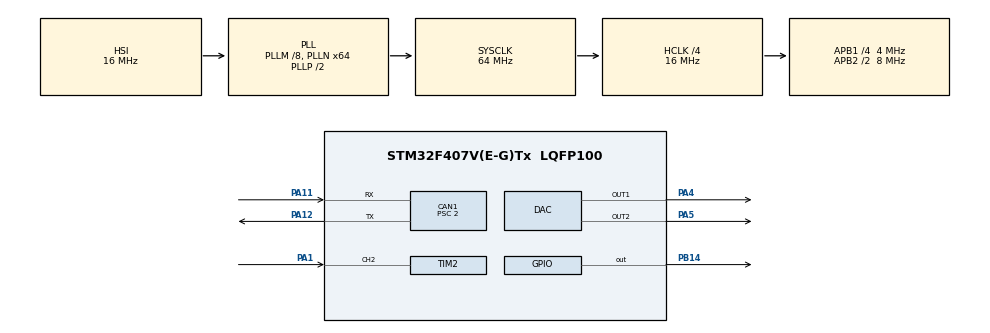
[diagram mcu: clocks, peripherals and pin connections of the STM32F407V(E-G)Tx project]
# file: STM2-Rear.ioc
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CAN1.BS1=CAN_BS1_5TQ
CAN1.BS2=CAN_BS2_2TQ
CAN1.CalculateTimeQuantum=500.0
CAN1.Prescaler=2
Mcu.Family=STM32F4
Mcu.Name=STM32F407V(E-G)Tx
Mcu.Package=LQFP100
NVIC.CAN1_RX0_IRQn=true\:1\:0\:true\:false\:true\:true\:true
NVIC.PriorityGroup=NVIC_PRIORITYGROUP_4
NVIC.TIM3_IRQn=true\:0\:0\:false\:false\:true\:true\:true
NVIC.TIM4_IRQn=true\:2\:0\:true\:false\:true\:true\:true
NVIC.TIM5_IRQn=true\:2\:0\:true\:false\:true\:true\:true
PA1.GPIO_Speed=GPIO_SPEED_FREQ_HIGH
PA1.Signal=S_TIM2_CH2
PA11.Mode=Master
PA11.Signal=CAN1_RX
PA12.Mode=Master
PA12.Signal=CAN1_TX
PA13.Mode=Serial_Wire
PA13.Signal=SYS_JTMS-SWDIO
PA14.Mode=Serial_Wire
PA14.Signal=SYS_JTCK-SWCLK
PA4.Signal=COMP_DAC1_group
PA5.Signal=COMP_DAC2_group
PB14.Signal=GPIO_Output
PH0-OSC_IN.Mode=HSE-External-Oscillator
PH0-OSC_IN.Signal=RCC_OSC_IN
PH1-OSC_OUT.Mode=HSE-External-Oscillator
PH1-OSC_OUT.Signal=RCC_OSC_OUT
ProjectManager.HeapSize=0x200
ProjectManager.StackSize=0x400
ProjectManager.TargetToolchain=MDK-ARM V5
RCC.48MHZClocksFreq_Value=32000000
RCC.AHBCLKDivider=RCC_SYSCLK_DIV4
RCC.AHBFreq_Value=16000000
RCC.APB1CLKDivider=RCC_HCLK_DIV4
RCC.APB1Freq_Value=4000000
RCC.APB1TimFreq_Value=8000000
RCC.APB2CLKDivider=RCC_HCLK_DIV2
RCC.APB2Freq_Value=8000000
RCC.APB2TimFreq_Value=16000000
RCC.CortexFreq_Value=16000000
RCC.HCLKFreq_Value=16000000
RCC.HSE_VALUE=25000000
RCC.HSI_VALUE=16000000
RCC.LSE_VALUE=32768
RCC.PLLM=8
RCC.PLLN=64
RCC.SYSCLKFreq_VALUE=64000000
RCC.SYSCLKSource=RCC_SYSCLKSOURCE_PLLCLK
RCC.VCOOutputFreq_Value=128000000
SH.COMP_DAC1_group.0=DAC_OUT1,DAC_OUT1
SH.COMP_DAC2_group.0=DAC_OUT2,DAC_OUT2
SH.S_TIM2_CH2.0=TIM2_CH2,TriggerSource_TI2FP2
TIM2.Period=4000
TIM2.Prescaler=1000
TIM2.Slave_TriggerFilter=15
TIM2.Slave_TriggerPolarity=TIM_TRIGGERPOLARITY_FALLING
TIM3.Period=500
TIM3.Prescaler=5333
TIM4.Period=550
TIM4.Prescaler=6300
VP_TIM2_VS_ControllerModeClock.Mode=Clock Mode
VP_TIM3_VS_ClockSourceINT.Mode=Internal
VP_TIM4_VS_ClockSourceINT.Mode=Internal
VP_TIM5_VS_ClockSourceINT.Mode=Internal
board=custom

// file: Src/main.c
/* USER CODE BEGIN Header */
/**
  ******************************************************************************
  * @file           : main.c
  * @brief          : Main program body
  ******************************************************************************
  ** This notice applies to any and all portions of this file
  * that are not between comment pairs USER CODE BEGIN and
  * USER CODE END. Other portions of this file, whether
  * inserted by the user or by software development tools
  * are owned by their respective copyright owners.
  *
  * COPYRIGHT(c) 2019 STMicroelectronics
  *
  * Redistribution and use in source and binary forms, with or without modification,
  * are permitted provided that the following conditions are met:
  *   1. Redistributions of source code must retain the above copyright notice,
  *      this list of conditions and the following disclaimer.
  *   2. Redistributions in binary form must reproduce the above copyright notice,
  *      this list of conditions and the following disclaimer in the documentation
  *      and/or other materials provided with the distribution.
  *   3. Neither the name of STMicroelectronics nor the names of its contributors
  *      may be used to endorse or promote products derived from this software
  *      without specific prior written permission.
  *
  * THIS SOFTWARE IS PROVIDED BY THE COPYRIGHT HOLDERS AND CONTRIBUTORS "AS IS"
  * AND ANY EXPRESS OR IMPLIED WARRANTIES, INCLUDING, BUT NOT LIMITED TO, THE
  * IMPLIED WARRANTIES OF MERCHANTABILITY AND FITNESS FOR A PARTICULAR PURPOSE ARE
  * DISCLAIMED. IN NO EVENT SHALL THE COPYRIGHT HOLDER OR CONTRIBUTORS BE LIABLE
  * FOR ANY DIRECT, INDIRECT, INCIDENTAL, SPECIAL, EXEMPLARY, OR CONSEQUENTIAL
  * DAMAGES (INCLUDING, BUT NOT LIMITED TO, PROCUREMENT OF SUBSTITUTE GOODS OR
  * SERVICES; LOSS OF USE, DATA, OR PROFITS; OR BUSINESS INTERRUPTION) HOWEVER
  * CAUSED AND ON ANY THEORY OF LIABILITY, WHETHER IN CONTRACT, STRICT LIABILITY,
  * OR TORT (INCLUDING NEGLIGENCE OR OTHERWISE) ARISING IN ANY WAY OUT OF THE USE
  * OF THIS SOFTWARE, EVEN IF ADVISED OF THE POSSIBILITY OF SUCH DAMAGE.
  *
  ******************************************************************************
  */
/* USER CODE END Header */

#include "main.h"

/* USER CODE BEGIN Includes */
#include "stdbool.h"

/* USER CODE END Includes */

CAN_HandleTypeDef hcan1;

DAC_HandleTypeDef hdac;

TIM_HandleTypeDef htim2;
TIM_HandleTypeDef htim3;
TIM_HandleTypeDef htim4;
TIM_HandleTypeDef htim5;

/* USER CODE BEGIN PV */

//-----CAN variables-----//
CAN_HandleTypeDef hcan1;
CAN_TxHeaderTypeDef Message_Header; //declare a specific header for message transmittions
CAN_RxHeaderTypeDef Filter_Header; //declare header for message reception
uint32_t TxMailbox;//mailbox for pending transmitions
//uint8_t message_out;
uint8_t message_in; //declare a send and receive bytes

//Declare CAN filter structures
CAN_FilterTypeDef sFilterConfig1; //general header
CAN_FilterTypeDef sFilterConfig2; //header lights messages (from STM4)
CAN_FilterTypeDef sFilterConfig3; //throttle position (from STM1)
CAN_FilterTypeDef sFilterConfig4; //regen position (from STM1)
CAN_FilterTypeDef sFilterConfig5; //error messages

bool kill_switch=0;

//---FLAG DEFINIIONS---///
//these control whether has indicated something should turn on or off
volatile bool lts_on_flag;
volatile bool lts_off_flag;
volatile bool rts_on_flag;
volatile bool rts_off_flag;
volatile bool haz_on_flag;
volatile bool haz_off_flag;

//these indicate whether something is currently activated
volatile bool rts_state;
volatile bool lts_state;
volatile bool haz_state=0;

//these are for the specific state of the physical light itself
volatile bool lts_light_state;
volatile bool rts_light_state;
volatile bool haz_light_state;

volatile int state;
volatile bool fault_flag;

/* USER CODE END PV */

void SystemClock_Config(void);
static void MX_GPIO_Init(void);
static void MX_TIM3_Init(void);
static void MX_TIM4_Init(void);
static void MX_TIM5_Init(void);
static void MX_DAC_Init(void);
static void MX_TIM2_Init(void);
static void MX_CAN1_Init(void);
/* USER CODE BEGIN PFP */
static void User_GPIO_Init(void);
void msDelay(uint32_t msTime);
int Debounced_ReadPin(GPIO_TypeDef* GPIOx, uint16_t GPIO_Pin);
void CAN_Send(uint8_t message, uint16_t address);

/* USER CODE END PFP */

int main(void)
{

  /* MCU Configuration--------------------------------------------------------*/

  /* Reset of all peripherals, Initializes the Flash interface and the Systick. */
  HAL_Init();

  /* Configure the system clock */
  SystemClock_Config();

  /* Initialize all configured peripherals */
  MX_GPIO_Init();
  MX_TIM3_Init();
  MX_TIM4_Init();
  MX_TIM5_Init();
  MX_DAC_Init();
  MX_TIM2_Init();
  MX_CAN1_Init();
  /* USER CODE BEGIN 2 */

	//Setup GPIO
	User_GPIO_Init();
	//Added delay to allow motor controller to start up
	msDelay(5000);
	//start DACs
	HAL_DAC_Start(&hdac, DAC1_CHANNEL_1);
	HAL_DAC_Start(&hdac, DAC1_CHANNEL_2);

  //-----CAN SETUP-----//
  Message_Header.DLC=1; //give message size of 1 byte
  Message_Header.IDE=CAN_ID_STD; //set identifier to standard
  Message_Header.RTR=CAN_RTR_DATA; //set data type to remote transmission request?

	//---General Purpose Filter---//
  sFilterConfig1.FilterFIFOAssignment=CAN_FILTER_FIFO0; //set fifo assignment
	sFilterConfig1.FilterMode = CAN_FILTERMODE_IDLIST;  //list mode
	sFilterConfig1.FilterBank = 1;											//set filter bank
  sFilterConfig1.FilterIdHigh=0x200<<5; //the ID that the filter looks for (THIS IS YOUR ADDRESS)
  sFilterConfig1.FilterIdLow=0;
  sFilterConfig1.FilterScale=CAN_FILTERSCALE_32BIT; //set filter scale
  sFilterConfig1.FilterActivation=ENABLE;
	HAL_CAN_ConfigFilter(&hcan1, &sFilterConfig1); //configure CAN filter

	//---Blinker Control Filter---//
  sFilterConfig2.FilterFIFOAssignment=CAN_FILTER_FIFO0; //set fifo assignment
	sFilterConfig2.FilterMode = CAN_FILTERMODE_IDMASK;  //mask mode
	sFilterConfig2.FilterBank = 2;											//set filter bank
  sFilterConfig2.FilterIdHigh=0x240<<5; //the ID that the filter looks for (THIS IS YOUR ADDRESS)
  sFilterConfig2.FilterIdLow=0;
  sFilterConfig2.FilterMaskIdHigh=0x0FF<<5;
  sFilterConfig2.FilterMaskIdLow=0x0FF<<5;
  sFilterConfig2.FilterScale=CAN_FILTERSCALE_32BIT; //set filter scale
  sFilterConfig2.FilterActivation=ENABLE;
  HAL_CAN_ConfigFilter(&hcan1, &sFilterConfig2); //configure CAN filter

  //---Throttle Position Filter---//
  sFilterConfig3.FilterFIFOAssignment=CAN_FILTER_FIFO0; //set fifo assignment
	sFilterConfig3.FilterMode = CAN_FILTERMODE_IDLIST;  //list mode
	sFilterConfig3.FilterBank = 3;											//set filter bank
  sFilterConfig3.FilterIdHigh=0x210<<5; //the ID that the filter looks for (THIS IS YOUR ADDRESS)
  sFilterConfig3.FilterIdLow=0;
  sFilterConfig3.FilterScale=CAN_FILTERSCALE_32BIT; //set filter scale
  sFilterConfig3.FilterActivation=ENABLE;
  HAL_CAN_ConfigFilter(&hcan1, &sFilterConfig3); //configure CAN filter

  //---Regen Position Filter---//
  sFilterConfig4.FilterFIFOAssignment=CAN_FILTER_FIFO0; //set fifo assignment
	sFilterConfig4.FilterMode = CAN_FILTERMODE_IDLIST;  //list mode
	sFilterConfig4.FilterBank = 4;											//set filter bank
  sFilterConfig4.FilterIdHigh=0x220<<5; //the ID that the filter looks for (THIS IS YOUR ADDRESS)
  sFilterConfig4.FilterIdLow=0;
  sFilterConfig4.FilterScale=CAN_FILTERSCALE_32BIT; //set filter scale
  sFilterConfig4.FilterActivation=ENABLE;
  HAL_CAN_ConfigFilter(&hcan1, &sFilterConfig4); //configure CAN filter

	//---Error Messages Filter---//
  sFilterConfig5.FilterFIFOAssignment=CAN_FILTER_FIFO0; //set fifo assignment
	sFilterConfig5.FilterMode = CAN_FILTERMODE_IDMASK;  //mask mode
	sFilterConfig5.FilterBank = 5;											//set filter bank
  sFilterConfig5.FilterIdHigh=0x2EE<<5; //the ID that the filter looks for (THIS IS YOUR ADDRESS)
  sFilterConfig5.FilterIdLow=0;
  sFilterConfig5.FilterMaskIdHigh=0x7FF<<5;
  sFilterConfig5.FilterMaskIdLow=0x7FF<<5;
  sFilterConfig5.FilterScale=CAN_FILTERSCALE_32BIT; //set filter scale
  sFilterConfig5.FilterActivation=ENABLE;
  HAL_CAN_ConfigFilter(&hcan1, &sFilterConfig5); //configure CAN filter

  HAL_CAN_Start(&hcan1); //start CAN
  HAL_CAN_ActivateNotification(&hcan1, CAN_IT_RX_FIFO0_MSG_PENDING); //enable interrupts

	//TODO: DELETE THIS!!!
	HAL_DAC_SetValue(&hdac, DAC1_CHANNEL_1, DAC_ALIGN_8B_R, 0x00);
	HAL_DAC_SetValue(&hdac, DAC1_CHANNEL_2, DAC_ALIGN_8B_R, 0x00);

	//start speed collection timers
	HAL_TIM_Base_Start_IT(&htim5);
	HAL_TIM_Base_Start(&htim2);

	//start blinker control timers
	HAL_TIM_Base_Start_IT(&htim4);

//turn on motor on: DELETE THIS
	GPIOD->BSRR = 0x00000100;

  /* USER CODE END 2 */

  /* Infinite loop */
  /* USER CODE BEGIN WHILE */
  while (1)
  {
	switch(state){
		//matt=matt
		//-----NORMAL OPERATION STATES-----//
		case 0:
			//check to see if the killswitch is high
			kill_switch = Debounced_ReadPin(GPIOE, GPIO_PIN_0);
			//if killswitch is high tell STM3 to turn off the car
			if(kill_switch==1){
				  //broadcast error message
					CAN_Send(0xE1, 0x0EE);
					//stop DACs
					HAL_DAC_Stop(&hdac, DAC1_CHANNEL_1);
					HAL_DAC_Stop(&hdac, DAC1_CHANNEL_2);
					//trip fault flag
					fault_flag=1;
					}
			state++;
			break;

    //check right turn signals
		case 1:
			if(rts_on_flag==1){

				//ensure other turn signal is off
				GPIOC->BSRR=0x03000000;
				lts_state=0;
				lts_light_state=0;

				//set state to 1
				rts_state=1;
				//timer will interrupt immediately so set this to turn on turn signal
				rts_light_state=0;
				//reload prescaler by forcing update event
				TIM4->EGR |=TIM_EGR_UG;

				rts_on_flag=0;

			  }
			if(rts_off_flag==1 && lts_state==0){

				//set state to 0
				rts_state=0;
				//force update event

				//ensure lights are off
				GPIOC->BSRR=0x02000000;
			  //stop turn signals
				rts_off_flag=0;
			  }
			state++;
			break;

		//check left turn signals
		case 2:
			if(lts_on_flag==1){

				//ensure other turn signal is off
				GPIOC->BSRR=0x03000000;
				rts_state=0;
				rts_light_state=0;

				//set state to 1
				lts_state=1;
				//timer will interrupt immediately so set this to turn on turn signal
				lts_light_state=0;
				//reset the turn signal timer
				TIM4->EGR |=TIM_EGR_UG;	//reload prescaler by forcing update event

				lts_on_flag=0;
			  }

			if(lts_off_flag==1 && rts_state==0){

				//ensure other turn signal is off
				GPIOC->BSRR=0x03000000;

				//set state to 0
				lts_state=0;
				//ensure lights are off
				GPIOC->BSRR=0x01000000;
			  //stop turn signals
				lts_off_flag=0;
			  }
			state++;
			break;

		//check the hazards
		case 3:
			if(haz_on_flag==1){

				//set state to 1
				haz_state=1;
				//timer will interrupt immediately so set these to turn on turn signals
				haz_light_state=0;
				//reset the turn signal timer
				TIM4->EGR |=TIM_EGR_UG;

				haz_on_flag=0;
			  }
			if(haz_off_flag==1){

				//set states to 0
				haz_state=0;
				//ensure lights are off
				GPIOC->BSRR=0x03000000;
			  //stop turn signals
				haz_off_flag=0;
			  }

			state=0;
			//enter fault states if needed
			if(fault_flag == 1)
				state=4;

			break;

		}
    /* USER CODE END WHILE */

  }
}

void SystemClock_Config(void)
{
  RCC_OscInitTypeDef RCC_OscInitStruct = {0};
  RCC_ClkInitTypeDef RCC_ClkInitStruct = {0};

  /**Configure the main internal regulator output voltage
  */
  __HAL_RCC_PWR_CLK_ENABLE();
  __HAL_PWR_VOLTAGESCALING_CONFIG(PWR_REGULATOR_VOLTAGE_SCALE1);
  /**Initializes the CPU, AHB and APB busses clocks
  */
  RCC_OscInitStruct.OscillatorType = RCC_OSCILLATORTYPE_HSI;
  RCC_OscInitStruct.HSIState = RCC_HSI_ON;
  RCC_OscInitStruct.HSICalibrationValue = RCC_HSICALIBRATION_DEFAULT;
  RCC_OscInitStruct.PLL.PLLState = RCC_PLL_ON;
  RCC_OscInitStruct.PLL.PLLSource = RCC_PLLSOURCE_HSI;
  RCC_OscInitStruct.PLL.PLLM = 8;
  RCC_OscInitStruct.PLL.PLLN = 64;
  RCC_OscInitStruct.PLL.PLLP = RCC_PLLP_DIV2;
  RCC_OscInitStruct.PLL.PLLQ = 4;
  if (HAL_RCC_OscConfig(&RCC_OscInitStruct) != HAL_OK)
  {
    Error_Handler();
  }
  /**Initializes the CPU, AHB and APB busses clocks
  */
  RCC_ClkInitStruct.ClockType = RCC_CLOCKTYPE_HCLK|RCC_CLOCKTYPE_SYSCLK
                              |RCC_CLOCKTYPE_PCLK1|RCC_CLOCKTYPE_PCLK2;
  RCC_ClkInitStruct.SYSCLKSource = RCC_SYSCLKSOURCE_PLLCLK;
  RCC_ClkInitStruct.AHBCLKDivider = RCC_SYSCLK_DIV4;
  RCC_ClkInitStruct.APB1CLKDivider = RCC_HCLK_DIV4;
  RCC_ClkInitStruct.APB2CLKDivider = RCC_HCLK_DIV2;

  if (HAL_RCC_ClockConfig(&RCC_ClkInitStruct, FLASH_LATENCY_0) != HAL_OK)
  {
    Error_Handler();
  }
}

static void MX_CAN1_Init(void)
{

  hcan1.Instance = CAN1;
  hcan1.Init.Prescaler = 2;
  hcan1.Init.Mode = CAN_MODE_NORMAL;
  hcan1.Init.SyncJumpWidth = CAN_SJW_1TQ;
  hcan1.Init.TimeSeg1 = CAN_BS1_5TQ;
  hcan1.Init.TimeSeg2 = CAN_BS2_2TQ;
  hcan1.Init.TimeTriggeredMode = DISABLE;
  hcan1.Init.AutoBusOff = DISABLE;
  hcan1.Init.AutoWakeUp = DISABLE;
  hcan1.Init.AutoRetransmission = DISABLE;
  hcan1.Init.ReceiveFifoLocked = DISABLE;
  hcan1.Init.TransmitFifoPriority = DISABLE;
  if (HAL_CAN_Init(&hcan1) != HAL_OK)
  {
    Error_Handler();
  }

}

static void MX_DAC_Init(void)
{

  DAC_ChannelConfTypeDef sConfig = {0};

  /**DAC Initialization
  */
  hdac.Instance = DAC;
  if (HAL_DAC_Init(&hdac) != HAL_OK)
  {
    Error_Handler();
  }
  /**DAC channel OUT1 config
  */
  sConfig.DAC_Trigger = DAC_TRIGGER_NONE;
  sConfig.DAC_OutputBuffer = DAC_OUTPUTBUFFER_ENABLE;
  if (HAL_DAC_ConfigChannel(&hdac, &sConfig, DAC_CHANNEL_1) != HAL_OK)
  {
    Error_Handler();
  }
  /**DAC channel OUT2 config
  */
  if (HAL_DAC_ConfigChannel(&hdac, &sConfig, DAC_CHANNEL_2) != HAL_OK)
  {
    Error_Handler();
  }

}

static void MX_TIM2_Init(void)
{

  TIM_SlaveConfigTypeDef sSlaveConfig = {0};
  TIM_MasterConfigTypeDef sMasterConfig = {0};

  htim2.Instance = TIM2;
  htim2.Init.Prescaler = 1000;
  htim2.Init.CounterMode = TIM_COUNTERMODE_UP;
  htim2.Init.Period = 4000;
  htim2.Init.ClockDivision = TIM_CLOCKDIVISION_DIV1;
  if (HAL_TIM_Base_Init(&htim2) != HAL_OK)
  {
    Error_Handler();
  }
  sSlaveConfig.SlaveMode = TIM_SLAVEMODE_EXTERNAL1;
  sSlaveConfig.InputTrigger = TIM_TS_TI2FP2;
  sSlaveConfig.TriggerPolarity = TIM_TRIGGERPOLARITY_FALLING;
  sSlaveConfig.TriggerFilter = 15;
  if (HAL_TIM_SlaveConfigSynchronization(&htim2, &sSlaveConfig) != HAL_OK)
  {
    Error_Handler();
  }
  sMasterConfig.MasterOutputTrigger = TIM_TRGO_RESET;
  sMasterConfig.MasterSlaveMode = TIM_MASTERSLAVEMODE_DISABLE;
  if (HAL_TIMEx_MasterConfigSynchronization(&htim2, &sMasterConfig) != HAL_OK)
  {
    Error_Handler();
  }

}

static void MX_TIM3_Init(void)
{

  TIM_ClockConfigTypeDef sClockSourceConfig = {0};
  TIM_MasterConfigTypeDef sMasterConfig = {0};

  htim3.Instance = TIM3;
  htim3.Init.Prescaler = 0;
  htim3.Init.CounterMode = TIM_COUNTERMODE_UP;
  htim3.Init.Period = 0;
  htim3.Init.ClockDivision = TIM_CLOCKDIVISION_DIV1;
  if (HAL_TIM_Base_Init(&htim3) != HAL_OK)
  {
    Error_Handler();
  }
  sClockSourceConfig.ClockSource = TIM_CLOCKSOURCE_INTERNAL;
  if (HAL_TIM_ConfigClockSource(&htim3, &sClockSourceConfig) != HAL_OK)
  {
    Error_Handler();
  }
  sMasterConfig.MasterOutputTrigger = TIM_TRGO_RESET;
  sMasterConfig.MasterSlaveMode = TIM_MASTERSLAVEMODE_DISABLE;
  if (HAL_TIMEx_MasterConfigSynchronization(&htim3, &sMasterConfig) != HAL_OK)
  {
    Error_Handler();
  }

}

static void MX_TIM4_Init(void)
{

  TIM_ClockConfigTypeDef sClockSourceConfig = {0};
  TIM_MasterConfigTypeDef sMasterConfig = {0};

  htim4.Instance = TIM4;
  htim4.Init.Prescaler = 6300;
  htim4.Init.CounterMode = TIM_COUNTERMODE_UP;
  htim4.Init.Period = 550;
  htim4.Init.ClockDivision = TIM_CLOCKDIVISION_DIV1;
  if (HAL_TIM_Base_Init(&htim4) != HAL_OK)
  {
    Error_Handler();
  }
  sClockSourceConfig.ClockSource = TIM_CLOCKSOURCE_INTERNAL;
  if (HAL_TIM_ConfigClockSource(&htim4, &sClockSourceConfig) != HAL_OK)
  {
    Error_Handler();
  }
  sMasterConfig.MasterOutputTrigger = TIM_TRGO_RESET;
  sMasterConfig.MasterSlaveMode = TIM_MASTERSLAVEMODE_DISABLE;
  if (HAL_TIMEx_MasterConfigSynchronization(&htim4, &sMasterConfig) != HAL_OK)
  {
    Error_Handler();
  }

}

static void MX_TIM5_Init(void)
{

  TIM_ClockConfigTypeDef sClockSourceConfig = {0};
  TIM_MasterConfigTypeDef sMasterConfig = {0};

  htim5.Instance = TIM5;
  htim5.Init.Prescaler = 0;
  htim5.Init.CounterMode = TIM_COUNTERMODE_UP;
  htim5.Init.Period = 0;
  htim5.Init.ClockDivision = TIM_CLOCKDIVISION_DIV1;
  if (HAL_TIM_Base_Init(&htim5) != HAL_OK)
  {
    Error_Handler();
  }
  sClockSourceConfig.ClockSource = TIM_CLOCKSOURCE_INTERNAL;
  if (HAL_TIM_ConfigClockSource(&htim5, &sClockSourceConfig) != HAL_OK)
  {
    Error_Handler();
  }
  sMasterConfig.MasterOutputTrigger = TIM_TRGO_RESET;
  sMasterConfig.MasterSlaveMode = TIM_MASTERSLAVEMODE_DISABLE;
  if (HAL_TIMEx_MasterConfigSynchronization(&htim5, &sMasterConfig) != HAL_OK)
  {
    Error_Handler();
  }

}

static void MX_GPIO_Init(void)
{

  /* GPIO Ports Clock Enable */
  __HAL_RCC_GPIOH_CLK_ENABLE();
  __HAL_RCC_GPIOA_CLK_ENABLE();

}

/* USER CODE BEGIN 4 */

static void User_GPIO_Init(void){
  //enable clocks
	__HAL_RCC_GPIOD_CLK_ENABLE();
	__HAL_RCC_GPIOE_CLK_ENABLE();
	__HAL_RCC_GPIOB_CLK_ENABLE();
  __HAL_RCC_GPIOC_CLK_ENABLE();

	//enable PD12-PD15 debugging lights
  GPIOD->MODER=0x55555555;
	//enable PC5, PC7, PC8-PC12 as outputs
	GPIOC->MODER=0xFD5577FF;
	//enable PE0 as an input
	GPIOE->MODER=0xFFFFFFFC;
	//enable PB8 as an output
	GPIOB->MODER=0xFFFDFFFF;
	//ensure all pulldown resistors are activated
  GPIOE->PUPDR=0xAAAAAAAA;

  }

	//simple debounced read (using HAL)
int Debounced_ReadPin(GPIO_TypeDef* GPIOx, uint16_t GPIO_Pin){
  int pin_holder=HAL_GPIO_ReadPin(GPIOx, GPIO_Pin);
  msDelay(100);
  if(pin_holder==HAL_GPIO_ReadPin(GPIOx, GPIO_Pin)){
		return pin_holder;
		}
	return 0;
  }

//funtion to send CAN message (using HAL)
void CAN_Send(uint8_t message_out, uint16_t address){
	Message_Header.StdId=address;//define a standard identifier, used for message identification by filters
	HAL_CAN_AddTxMessage(&hcan1, &Message_Header, &message_out, &TxMailbox);
  }

//function uses clock cycles to create a delay
void msDelay(uint32_t msTime){
	for(uint32_t i=0; i<msTime*4000;i++);
  }
/* USER CODE END 4 */

void Error_Handler(void)
{
}

/************************ (C) COPYRIGHT STMicroelectronics *****END OF FILE****/
